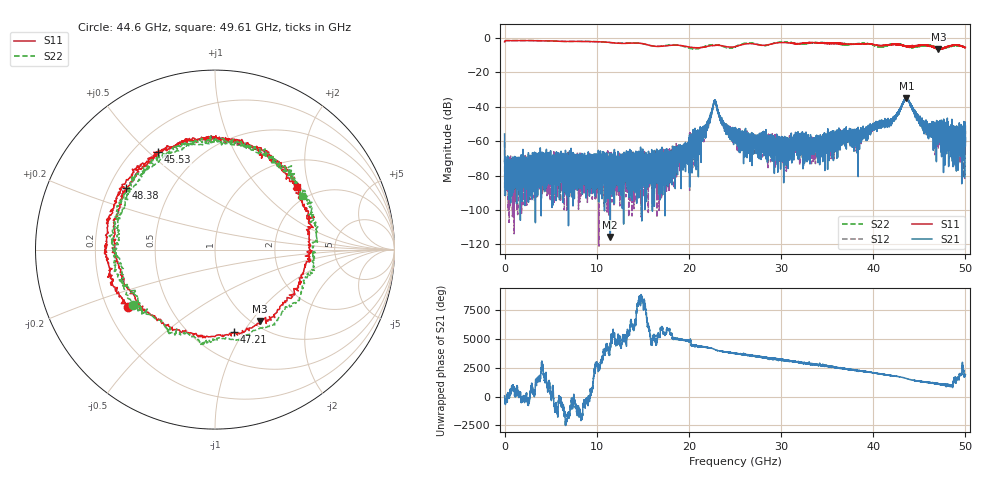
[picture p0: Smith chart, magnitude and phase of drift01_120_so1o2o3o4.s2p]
!Created with skrf (http://scikit-rf.org).
# Hz S RI R 50.0
!freq ReS11 ImS11 ReS21 ImS21 ReS12 ImS12 ReS22 ImS22
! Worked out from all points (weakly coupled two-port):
!   10001 points, 300 kHz to 50 GHz, reference 50 ohm
!   highest |S21| = -34.78 dB at 43.6 GHz (marker M1); lowest = -115.7 dB at 11.47 GHz (marker M2)
!   lowest |S11| = -6.5 dB at 47.08 GHz (marker M3), VSWR 2.78, Z = 54.2 - j55.5 ohm
!   |S11| at or under -10 dB: nowhere
!   |S22| runs from -6.4 to -1.4 dB; largest |S21 - S12| = 0.0043
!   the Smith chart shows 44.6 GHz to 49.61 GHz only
!   S11 on the Smith chart (normalised r, x): 44.6 GHz: 0.29, -0.28; 45.53 GHz: 0.30, +0.54; 47.21 GHz: 0.77, -0.91; 48.38 GHz: 0.27, +0.29; 49.61 GHz: 1.61, +1.69
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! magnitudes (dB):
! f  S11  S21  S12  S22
! 300 kHz  -2.1  -55.8  -60.4  -2.1
! 315.3 MHz  -1.4  -79.9  -71.0  -1.4
! 8.335 GHz  -1.9  -78.4  -79.1  -1.8
! 11.47 GHz  -2.6  -115.7  -74.9  -2.6
! 16.67 GHz  -4.8  -76.2  -71.5  -4.8
! 20.92 GHz  -5.6  -63.5  -57.8  -6.1
! 21.86 GHz  -5.0  -51.1  -52.0  -4.7
! 22.8 GHz  -4.3  -36.2  -36.3  -4.0
! 23.7 GHz  -4.6  -48.3  -50.2  -4.9
! 25 GHz  -5.0  -59.2  -55.9  -5.0
! 29.16 GHz  -3.1  -70.4  -60.9  -3.0
! 33.34 GHz  -2.6  -62.0  -59.0  -2.7
! 38.46 GHz  -3.4  -55.4  -56.5  -3.2
! 41.67 GHz  -3.8  -48.8  -48.4  -4.2
! 43.6 GHz  -4.9  -34.8  -35.0  -4.8
! 44.6 GHz  -4.7  -43.4  -44.1  -5.2
! 45.53 GHz  -4.0  -52.1  -51.3  -4.4
! 47.08 GHz  -6.5  -58.0  -52.4  -5.5
! 47.21 GHz  -6.5  -60.7  -48.7  -5.8
! 48.38 GHz  -4.4  -61.2  -65.9  -4.8
! 49.61 GHz  -4.8  -84.7  -56.6  -4.9
! 50 GHz  -5.4  -62.6  -54.0  -5.3
